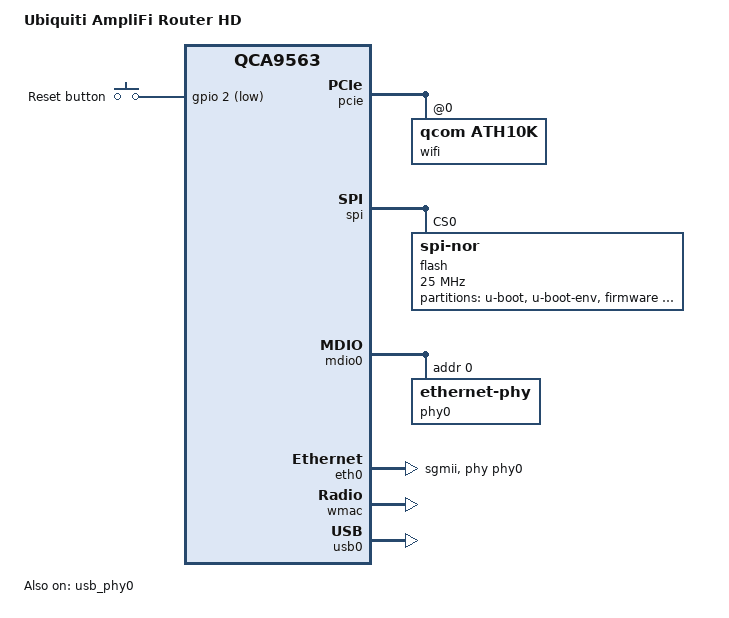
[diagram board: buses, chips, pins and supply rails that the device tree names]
// SPDX-License-Identifier: GPL-2.0-or-later OR MIT

#include "qca956x.dtsi"

#include <dt-bindings/gpio/gpio.h>
#include <dt-bindings/input/input.h>

/ {
	compatible = "ubnt,amplifi-router-hd", "qca,qca9563";
	model = "Ubiquiti AmpliFi Router HD";

	aliases {
		label-mac-device = &eth0;
	};

	keys {
		compatible = "gpio-keys";

		reset {
			label = "Reset button";
			linux,code = <KEY_RESTART>;
			gpios = <&gpio 2 GPIO_ACTIVE_LOW>;
			debounce-interval = <60>;
		};
	};
};

&pcie {
	status = "okay";

	wifi@0,0 {
		compatible = "qcom,ath10k";
		reg = <0x0000 0 0 0 0>;
		nvmem-cells = <&cal_art_5000>;
		nvmem-cell-names = "calibration";
	};
};

&spi {
	status = "okay";

	flash@0 {
		compatible = "jedec,spi-nor";
		reg = <0>;
		spi-max-frequency = <25000000>;

		partitions {
			compatible = "fixed-partitions";
			#address-cells = <1>;
			#size-cells = <1>;

			partition@0 {
				label = "u-boot";
				reg = <0x000000 0x060000>;
				read-only;
			};

			partition@60000 {
				compatible = "u-boot,env";
				label = "u-boot-env";
				reg = <0x060000 0x010000>;
			};

			partition@70000 {
				compatible = "denx,uimage";
				label = "firmware";
				reg = <0x070000 0xb00000>;
			};

			partition@b70000 {
				label = "cfg";
				reg = <0xb70000 0x0c0000>;
				read-only;
			};

			partition@c30000 {
				label = "recovery";
				reg = <0xc30000 0x3b0000>;
				read-only;
			};

			partition@fe0000 {
				label = "prst";
				reg = <0xfe0000 0x010000>;
				read-only;
			};

			partition@ff0000 {
				/* eeprom */
				label = "art";
				reg = <0xff0000 0x010000>;
				read-only;

				nvmem-layout {
					compatible = "fixed-layout";
					#address-cells = <1>;
					#size-cells = <1>;

					macaddr_art_0: macaddr@0 {
						compatible = "mac-base";
						reg = <0x0 0x6>;
						#nvmem-cell-cells = <1>;
					};

					cal_art_1000: calibration@1000 {
						reg = <0x1000 0x440>;
					};

					cal_art_5000: calibration@5000 {
						reg = <0x5000 0x844>;
					};
				};
			};

			partition@1000000 {
				label = "bs1";
				reg = <0x1000000 0x010000>;
			};

			partition@1010000 {
				label = "bs2";
				reg = <0x1010000 0x010000>;
				read-only;
			};

			partition@1020000 {
				label = "stats";
				reg = <0x1020000 0x400000>;
				read-only;
			};

			partition@1420000 {
				label = "fw_inactive";
				reg = <0x1420000 0xb00000>;
				read-only;
			};

			partition@1f20000 {
				label = "reserved";
				reg = <0x1f20000 0x0e0000>;
				read-only;
			};
		};
	};
};

&mdio0 {
	status = "okay";

	phy0: ethernet-phy@0 {
		reg = <0>;
		phy-mode = "sgmii";

		qca,ar8327-initvals = <
			0x04 0x00000080 /* AR8327_REG_PAD0_MODE */
			0x08 0x00000000 /* PORT5 PAD MODE CTRL */
			0x0c 0x00000000 /* PORT6 PAD MODE CTRL */
			0x10 0x602613a0 /* AR8327_REG_POWER_ON_STRAP */
			0x50 0xcc35cc35 /* AR8327_REG_LED_CTRL0 */
			0x54 0xca35ca35 /* AR8327_REG_LED_CTRL1 */
			0x58 0xc935c935 /* AR8327_REG_LED_CTRL2 */
			0x5c 0x03ffff00 /* AR8327_REG_LED_CTRL3 */
			0x7c 0x0000007e /* AR8327_REG_PORT_STATUS(0) */
			0x94 0x00001080 /* AR8327_REG_PORT_STATUS(6) */
		>;
	};
};

&eth0 {
	status = "okay";
	
	pll-data = <0x03000101 0x00000101 0x00001919>;

	phy-mode = "sgmii";
	phy-handle = <&phy0>;

	nvmem-cells = <&macaddr_art_0 0>;
	nvmem-cell-names = "mac-address";
};

&wmac {
	status = "okay";

	nvmem-cells = <&macaddr_art_0 (-2)>, <&cal_art_1000>;
	nvmem-cell-names = "mac-address", "calibration";
};

&usb_phy0 {
	status = "okay";
};

&usb0 {
	status = "okay";
};
